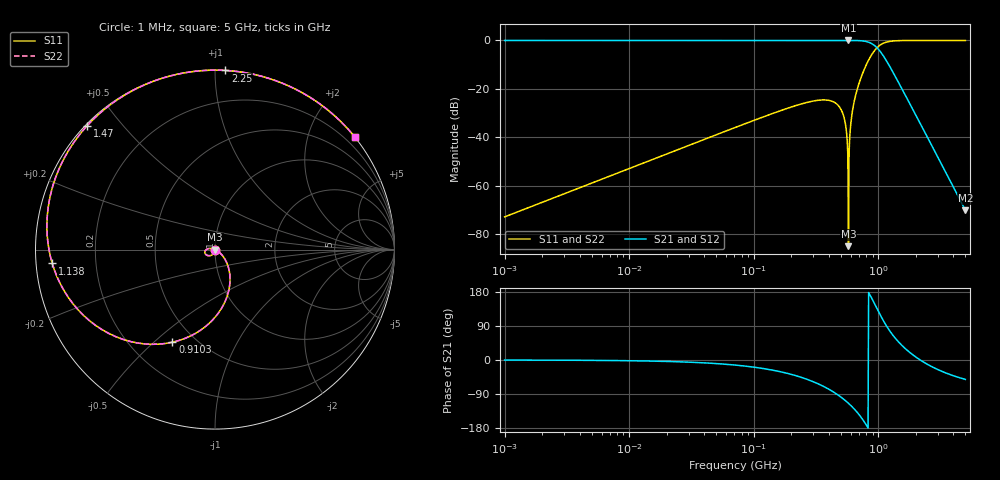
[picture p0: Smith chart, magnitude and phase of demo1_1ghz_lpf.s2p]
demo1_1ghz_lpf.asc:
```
Version 4
SHEET 1 1280 720
SYMBOL voltage 32 144 R0
SYMATTR InstName V1
SYMATTR Value AC 1 0
SYMBOL res 80 48 R90
SYMATTR InstName Rs1
SYMATTR Value 50
SYMBOL ind 96 48 R90
SYMATTR InstName L1
SYMATTR Value 4.7n
SYMBOL cap 224 80 R0
SYMATTR InstName C2
SYMATTR Value 5.6p
SYMBOL ind 288 48 R90
SYMATTR InstName L3
SYMATTR Value 15n
SYMBOL cap 416 80 R0
SYMATTR InstName C4
SYMATTR Value 5.6p
SYMBOL ind 480 48 R90
SYMATTR InstName L5
SYMATTR Value 4.7n
SYMBOL res 1248 48 R0
SYMATTR InstName RL1
SYMATTR Value 50
TEXT 96 336 Left 2 !.ac dec 200 1000000.0 5000000000.0
FLAG 96 144 p1
FLAG 1328 144 p2
FLAG 1328 240 0
```
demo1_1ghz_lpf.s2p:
! Created with skrf 1.11.0 (http://scikit-rf.org).
# Hz S RI R 50.0
!freq ReS11 ImS11 ReS21 ImS21 ReS12 ImS12 ReS22 ImS22
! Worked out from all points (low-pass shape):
!   801 points, 1 MHz to 5 GHz, reference 50 ohm
!   highest |S21| = 0.00 dB at 575.9 MHz (marker M1); lowest = -70.2 dB at 5 GHz (marker M2)
!   |S21| within 3 dB of the highest: start of sweep to 975.3 MHz
!   lowest |S11| = -85.0 dB at 575.9 MHz (marker M3), VSWR 1.00, Z = 50 - j0.0023 ohm
!   |S11| at or under -10 dB: start of sweep to 801.7 MHz
!   |S22| runs from -85.0 to 0.0 dB; largest |S21 - S12| = 2.5e-13
!   S11 on the Smith chart (normalised r, x): 1 MHz: 1.00, -0.00; 910.3 MHz: 0.38, -0.57; 1.138 GHz: 0.05, -0.04; 1.47 GHz: 0.00, +0.40; 2.25 GHz: 0.00, +1.06; 5 GHz: 0.00, +2.84
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1000000  -7.45e-07 -0.000226  1 -0.00329  1 -0.00329  -7.45e-07 -0.000226
7.071068e7  -0.00366 -0.0154  0.9729 -0.2308  0.9729 -0.2308  -0.00366 -0.0154
4.010053e8  -0.0564 -0.0128  0.2209 -0.9736  0.2209 -0.9736  -0.0564 -0.0128
5.12266e8  -0.0331 0.00599  -0.1781 -0.9834  -0.1781 -0.9834  -0.0331 0.00599
5.759123e8  5.12e-05 -2.3e-05  -0.4101 -0.912  -0.4101 -0.912  5.12e-05 -2.3e-05
6.614007e8  0.0563 -0.0549  -0.696 -0.7137  -0.696 -0.7137  0.0563 -0.0549
9.102821e8  -0.2372 -0.5161  -0.7478 0.3438  -0.7478 0.3438  -0.2372 -0.5161
1.138345e9  -0.9068 -0.077  -0.0351 0.4129  -0.0351 0.4129  -0.9068 -0.077
1.469749e9  -0.7129 0.6895  0.0891 0.0921  0.0891 0.0921  -0.7129 0.6895
2.250047e9  0.0573 0.9982  0.0161 -0.000923  0.0161 -0.000923  0.0573 0.9982
5e9  0.7791 0.6269  0.000195 -0.000242  0.000195 -0.000242  0.7791 0.6269
